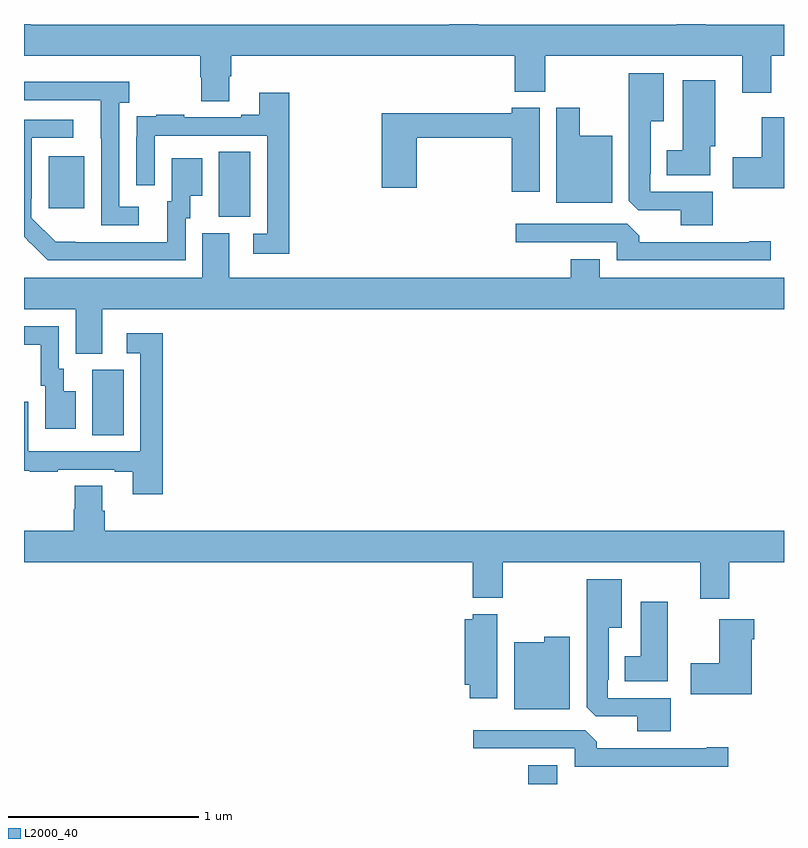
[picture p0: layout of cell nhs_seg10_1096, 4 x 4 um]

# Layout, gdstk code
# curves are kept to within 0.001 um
import gdstk
lib = gdstk.Library(unit=1e-6, precision=1e-09)
def R(c, l, rs):  # rectangles x0, y0, x1, y1
    for r in rs: c.add(gdstk.rectangle(r[:2], r[2:], *l))
def P(c, l, *ps):  # polygons
    for p in ps: c.add(gdstk.Polygon(p, *l))
L2000_40 = (2000, 40)

nhs_seg10_1096 = lib.new_cell('nhs_seg10_1096')
R(nhs_seg10_1096, L2000_40, [(169.655,1280.5,169.807,1280.599), (167.36,1282.336,167.524,1282.68), (168.026,1283.485,168.19,1283.828), (167.129,1283.529,167.317,1283.803)])
P(nhs_seg10_1096, L2000_40, [(168.079,1284.226),(168.092,1284.226),(168.092,1284.332),(169.583,1284.332),(169.583,1284.143),(169.743,1284.143),(169.743,1284.332),(170.78,1284.332),(170.78,1284.138),(170.933,1284.138),(170.933,1284.332),(171,1284.332),(171,1284.496),(170.588,1284.496),(170.588,1284.5),(170.435,1284.5),(170.435,1284.496),(169.39,1284.496),(169.39,1284.5),(169.238,1284.5),(169.238,1284.496),(167.036,1284.496),(167.036,1284.5),(167,1284.5),(167,1284.332),(167.927,1284.332),(167.927,1284.219),(167.932,1284.219),(167.932,1284.094),(168.079,1284.094)],
  [(170.626,1283.616),(170.295,1283.616),(170.295,1283.713),(170.299,1283.713),(170.299,1283.987),(170.368,1283.987),(170.368,1284.241),(170.183,1284.241),(170.183,1283.569),(170.232,1283.52),(170.456,1283.52),(170.456,1283.441),(170.626,1283.441)],
  [(170.611,1283.856),(170.638,1283.856),(170.638,1284.205),(170.468,1284.205),(170.468,1283.836),(170.384,1283.836),(170.384,1283.705),(170.611,1283.705)],
  [(167.605,1283.538),(167.502,1283.538),(167.502,1284.086),(167.554,1284.086),(167.554,1284.196),(167,1284.196),(167,1284.099),(167.405,1284.099),(167.405,1283.899),(167.406,1283.899),(167.406,1283.442),(167.605,1283.442)],
  [(168.395,1284.139),(168.239,1284.139),(168.239,1284.022),(168.143,1284.022),(168.143,1284.009),(167.843,1284.009),(167.843,1284.022),(167.695,1284.022),(167.695,1284.015),(167.593,1284.015),(167.593,1283.906),(167.592,1283.906),(167.592,1283.652),(167.688,1283.652),(167.688,1283.913),(168.279,1283.913),(168.279,1283.397),(168.207,1283.397),(168.207,1283.292),(168.395,1283.292)],
  [(170.095,1283.911),(169.924,1283.911),(169.924,1284.058),(169.802,1284.058),(169.802,1283.558),(170.095,1283.558)],
  [(169.714,1284.058),(169.568,1284.058),(169.568,1284.031),(168.884,1284.031),(168.884,1283.637),(169.067,1283.637),(169.067,1283.902),(169.568,1283.902),(169.568,1283.616),(169.714,1283.616)],
  [(171,1284.01),(170.882,1284.01),(170.882,1283.799),(170.73,1283.799),(170.73,1283.636),(171,1283.636)],
  [(167.85,1283.478),(167.875,1283.478),(167.875,1283.597),(167.938,1283.597),(167.938,1283.794),(167.777,1283.794),(167.777,1283.568),(167.753,1283.568),(167.753,1283.352),(167.166,1283.353),(167.037,1283.481),(167.037,1283.581),(167.04,1283.581),(167.04,1283.901),(167.26,1283.901),(167.26,1283.997),(167,1283.997),(167,1283.38),(167.034,1283.346),(167.035,1283.347),(167.126,1283.256),(167.85,1283.256)],
  [(170.929,1283.357),(170.816,1283.357),(170.816,1283.352),(170.237,1283.352),(170.237,1283.386),(170.175,1283.448),(169.587,1283.448),(169.587,1283.352),(170.121,1283.352),(170.121,1283.256),(170.929,1283.256)],
  [(167.413,1283),(171,1283),(171,1283.164),(170.029,1283.164),(170.029,1283.263),(169.877,1283.263),(169.877,1283.164),(168.079,1283.164),(168.079,1283.4),(167.939,1283.4),(167.939,1283.164),(167,1283.164),(167,1283),(167.273,1283),(167.273,1282.765),(167.413,1282.765)],
  [(167.272,1282.567),(167.209,1282.567),(167.209,1282.686),(167.184,1282.686),(167.184,1282.908),(167,1282.908),(167,1282.812),(167.087,1282.812),(167.087,1282.596),(167.111,1282.596),(167.111,1282.371),(167.272,1282.371)],
  [(167.729,1282.873),(167.541,1282.873),(167.541,1282.767),(167.613,1282.767),(167.613,1282.251),(167.022,1282.251),(167.022,1282.513),(167,1282.513),(167,1282.149),(167.029,1282.149),(167.029,1282.143),(167.177,1282.143),(167.177,1282.155),(167.477,1282.155),(167.477,1282.143),(167.573,1282.143),(167.573,1282.026),(167.729,1282.026)],
  [(170.711,1281.668),(171,1281.668),(171,1281.832),(167.426,1281.832),(167.426,1281.938),(167.413,1281.938),(167.413,1282.07),(167.266,1282.07),(167.266,1281.945),(167.261,1281.945),(167.261,1281.832),(167,1281.832),(167,1281.668),(169.361,1281.668),(169.361,1281.479),(169.521,1281.479),(169.521,1281.668),(170.558,1281.668),(170.558,1281.474),(170.711,1281.474)],
  [(170.404,1280.952),(170.073,1280.952),(170.073,1281.049),(170.077,1281.049),(170.077,1281.323),(170.146,1281.323),(170.146,1281.577),(169.961,1281.577),(169.961,1280.905),(170.01,1280.856),(170.228,1280.856),(170.228,1280.777),(170.404,1280.777)],
  [(170.389,1281.46),(170.246,1281.46),(170.246,1281.172),(170.162,1281.172),(170.162,1281.041),(170.389,1281.041)],
  [(169.492,1281.394),(169.362,1281.394),(169.362,1281.367),(169.319,1281.367),(169.319,1281.023),(169.346,1281.023),(169.346,1280.952),(169.492,1280.952)],
  [(170.83,1281.263),(170.843,1281.263),(170.843,1281.367),(170.66,1281.367),(170.66,1281.135),(170.508,1281.135),(170.508,1280.972),(170.83,1280.972)],
  [(169.873,1281.274),(169.737,1281.274),(169.737,1281.247),(169.58,1281.247),(169.58,1280.894),(169.873,1280.894)],
  [(170.707,1280.693),(170.594,1280.693),(170.594,1280.688),(170.015,1280.688),(170.015,1280.722),(169.953,1280.784),(169.365,1280.784),(169.365,1280.688),(169.899,1280.688),(169.899,1280.592),(170.707,1280.592)])

lib.write_gds('nhs_seg10_1096.gds')
